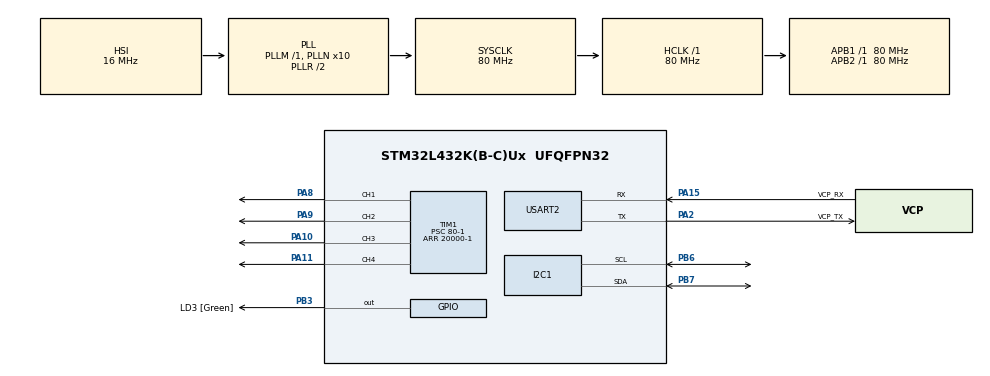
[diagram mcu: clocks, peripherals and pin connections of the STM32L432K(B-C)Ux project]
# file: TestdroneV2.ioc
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I2C1.Timing=0x10D19CE4
Mcu.Family=STM32L4
Mcu.Name=STM32L432K(B-C)Ux
Mcu.Package=UFQFPN32
NVIC.PriorityGroup=NVIC_PRIORITYGROUP_4
NVIC.TIM6_DAC_IRQn=true\:15\:0\:false\:false\:true\:false\:true\:true
NVIC.TimeBase=TIM6_DAC_IRQn
NVIC.TimeBaseIP=TIM6
PA0.GPIO_Label=MCO [High speed clock in]
PA0.Signal=RCC_CK_IN
PA10.Signal=S_TIM1_CH3
PA11.Signal=S_TIM1_CH4
PA13\ (JTMS-SWDIO).GPIO_Label=SWDIO
PA13\ (JTMS-SWDIO).Mode=Serial_Wire
PA13\ (JTMS-SWDIO).Signal=SYS_JTMS-SWDIO
PA14\ (JTCK-SWCLK).GPIO_Label=SWCLK
PA14\ (JTCK-SWCLK).Mode=Serial_Wire
PA14\ (JTCK-SWCLK).Signal=SYS_JTCK-SWCLK
PA15\ (JTDI).GPIO_Label=VCP_RX
PA15\ (JTDI).Mode=Asynchronous
PA15\ (JTDI).Signal=USART2_RX
PA2.GPIO_Label=VCP_TX
PA2.Mode=Asynchronous
PA2.Signal=USART2_TX
PA8.Signal=S_TIM1_CH1
PA9.Signal=S_TIM1_CH2
PB3\ (JTDO-TRACESWO).GPIO_Label=LD3 [Green]
PB3\ (JTDO-TRACESWO).Signal=GPIO_Output
PB6.Mode=I2C
PB6.Signal=I2C1_SCL
PB7.Mode=I2C
PB7.Signal=I2C1_SDA
PC14-OSC32_IN\ (PC14).Signal=RCC_OSC32_IN
PC15-OSC32_OUT\ (PC15).Signal=RCC_OSC32_OUT
ProjectManager.HeapSize=0x200
ProjectManager.StackSize=0x400
ProjectManager.TargetToolchain=STM32CubeIDE
RCC.ADCFreq_Value=64000000
RCC.AHBFreq_Value=80000000
RCC.APB1Freq_Value=80000000
RCC.APB1TimFreq_Value=80000000
RCC.APB2Freq_Value=80000000
RCC.APB2TimFreq_Value=80000000
RCC.CortexFreq_Value=80000000
RCC.HCLKFreq_Value=80000000
RCC.HSE_VALUE=8000000
RCC.HSI16_VALUE=16000000
RCC.HSI48_VALUE=48000000
RCC.HSI_VALUE=16000000
RCC.LSE_VALUE=32768
RCC.MSI_VALUE=4000000
RCC.PLLMUL=RCC_PLLMUL_4
RCC.PLLN=10
RCC.PLLSourceVirtual=RCC_PLLSOURCE_HSI
RCC.SYSCLKFreq_VALUE=80000000
RCC.SYSCLKSource=RCC_SYSCLKSOURCE_PLLCLK
RCC.USBFreq_Value=64000000
RCC.VCOOutputFreq_Value=160000000
SH.S_TIM1_CH1.0=TIM1_CH1,PWM Generation1 CH1
SH.S_TIM1_CH2.0=TIM1_CH2,PWM Generation2 CH2
SH.S_TIM1_CH3.0=TIM1_CH3,PWM Generation3 CH3
SH.S_TIM1_CH4.0=TIM1_CH4,PWM Generation4 CH4
TIM1.Channel-PWM\ Generation1\ CH1=TIM_CHANNEL_1
TIM1.Channel-PWM\ Generation2\ CH2=TIM_CHANNEL_2
TIM1.Channel-PWM\ Generation3\ CH3=TIM_CHANNEL_3
TIM1.Channel-PWM\ Generation4\ CH4=TIM_CHANNEL_4
TIM1.Period=20000-1
TIM1.Prescaler=80-1
USART2.VirtualMode-Asynchronous=VM_ASYNC
VP_SYS_VS_tim6.Mode=TIM6
VP_TIM1_VS_ClockSourceINT.Mode=Internal
board=NUCLEO-L432KC

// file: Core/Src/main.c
/* USER CODE BEGIN Header */
/**
  ******************************************************************************
  * @file           : main.c
  * @brief          : Main program body
  ******************************************************************************
  * @attention
  *
  * Copyright (c) 2025 STMicroelectronics.
  * All rights reserved.
  *
  * This software is licensed under terms that can be found in the LICENSE file
  * in the root directory of this software component.
  * If no LICENSE file comes with this software, it is provided AS-IS.
  *
  ******************************************************************************
  */
/* USER CODE END Header */
#include "main.h"
#include <stdio.h>

/* USER CODE BEGIN Includes */
#include "MPU6050.h"
#include "LowPassFilter.h"
#include "KalmanRollPitch.h"
#include "PIController.h"
#include "defines.h"
#include "PWMCTRL.h"
/* USER CODE END Includes */

I2C_HandleTypeDef hi2c1;

TIM_HandleTypeDef htim1;

UART_HandleTypeDef huart2;

/* USER CODE BEGIN PV */

/* Peripherals */
MPU6050_t mpu6050;

/* Filters
/* Low-pass filters */
LPFTwoPole lpf_acc_x, lpf_acc_y, lpf_acc_z;
LPFTwoPole lpf_gyr_x, lpf_gyr_y, lpf_gyr_z;

/* State estimation */
KalmanRollPitch ekf;

/* Controllers */
PIController ctrl_roll;
PIController ctrl_pitch;

/* ESC/Motor control */
ESC_CONF motors;
uint8_t motors_armed = 0;  // Safety flag
uint16_t pwm_fr, pwm_fl, pwm_rr, pwm_rl;

/* Timing variables */
uint32_t time_now = 0;
uint32_t time_prev_acc = 0;
uint32_t time_prev_gyr = 0;
uint32_t time_prev_ctrl = 0;
uint32_t time_prev_led = 0;

/* State variables */
float acc_raw[3] = {0};      // Accelerometer raw
float acc_filtered[3] = {0}; // Accelerometer filtered
float gyr_raw[3] = {0};      // Gyroscope raw
float gyr_filtered[3] = {0}; // Gyroscope filtered

float roll_est = 0.0f;       // Estimated roll (rad)
float pitch_est = 0.0f;      // Estimated pitch (rad)

float roll_setpoint = 0.0f;  // Desired roll (rad)
float pitch_setpoint = 0.0f; // Desired pitch (rad)

float ctrl_roll_output = 0.0f;
float ctrl_pitch_output = 0.0f;

/* USER CODE END PV */

void SystemClock_Config(void);
static void MX_GPIO_Init(void);
static void MX_I2C1_Init(void);
static void MX_TIM1_Init(void);
static void MX_USART2_UART_Init(void);
/* USER CODE BEGIN PFP */

void Sensors_Init(void);
void Filters_Init(void);
void Kalman_Init(void);
void Controllers_Init(void);

void Read_Sensors(void);
void Update_Kalman(void);
void Update_Controllers(void);
void Debug_Print(void);

/* USER CODE END PFP */

int main(void)
{

  /* MCU Configuration--------------------------------------------------------*/

  /* Reset of all peripherals, Initializes the Flash interface and the Systick. */
  HAL_Init();

  /* Configure the system clock */
  SystemClock_Config();

  /* Initialize all configured peripherals */
  MX_GPIO_Init();
  MX_I2C1_Init();
  MX_TIM1_Init();
  MX_USART2_UART_Init();
  /* USER CODE BEGIN 2 */
  /* Wait for sensor stabilization */
       HAL_Delay(100);

       /* Initialize modules */
       Sensors_Init();
       Filters_Init();
       Kalman_Init();
       Controllers_Init();
       // Initialize ESC/Motors
       ESC_Init(&motors);
       ESC_Calibrate(&motors);
       printf("System initialized successfully!\r\n");
       printf("Starting main loop...\r\n\r\n");

       /* Initialize timing */
       time_prev_acc = HAL_GetTick();
       time_prev_gyr = HAL_GetTick();
       time_prev_ctrl = HAL_GetTick();
       time_prev_led = HAL_GetTick();

  /* USER CODE END 2 */

  /* Infinite loop */
  /* USER CODE BEGIN WHILE */
       while (1)
             {
       	    /*__HAL_TIM_SET_COMPARE(&htim3, TIM_CHANNEL_1, 1100);

       	    HAL_Delay(4000);

       	    __HAL_TIM_SET_COMPARE(&htim3, TIM_CHANNEL_2, 1100);

       	   	HAL_Delay(4000);

       	   	__HAL_TIM_SET_COMPARE(&htim3, TIM_CHANNEL_3, 1100);

       	   	HAL_Delay(4000);

       	   	__HAL_TIM_SET_COMPARE(&htim3, TIM_CHANNEL_4, 1100);

       	   	HAL_Delay(4000);*/
                 time_now = HAL_GetTick();

                 //Read and filter accelerometer (16ms)
                 if (time_now - time_prev_acc >= SAMPLE_TIME_ACC_MS) {
                     time_prev_acc = time_now;

                     MPU6050_Read_Accel(&hi2c1, &mpu6050);

                     // Apply calibration
                     // MPU6050 retourne en 'g', on convertit en m/s²
                     acc_raw[0] = ((mpu6050.Ax - CALIB_ACC_BIAS_X) * CALIB_ACC_SCALE_X) * 9.81f;
                     acc_raw[1] = ((mpu6050.Ay - CALIB_ACC_BIAS_Y) * CALIB_ACC_SCALE_Y) * 9.81f;
                     acc_raw[2] = ((mpu6050.Az - CALIB_ACC_BIAS_Z) * CALIB_ACC_SCALE_Z) * 9.81f;

                     // Apply low-pass filter
                     acc_filtered[0] = LPFTwoPole_Update(&lpf_acc_x, acc_raw[0]);
                     acc_filtered[1] = LPFTwoPole_Update(&lpf_acc_y, acc_raw[1]);
                     acc_filtered[2] = LPFTwoPole_Update(&lpf_acc_z, acc_raw[2]);
                 }

                 // Read and filter gyroscope (10ms)
                 if (time_now - time_prev_gyr >= SAMPLE_TIME_GYR_MS) {
                     time_prev_gyr = time_now;

                     MPU6050_Read_Gyro(&hi2c1, &mpu6050);

                     // Convert to rad/s
                     gyr_raw[0] = mpu6050.Gx * DEG_TO_RAD;
                     gyr_raw[1] = mpu6050.Gy * DEG_TO_RAD;
                     gyr_raw[2] = mpu6050.Gz * DEG_TO_RAD;

                     // Apply low-pass filter
                     gyr_filtered[0] = LPFTwoPole_Update(&lpf_gyr_x, gyr_raw[0]);
                     gyr_filtered[1] = LPFTwoPole_Update(&lpf_gyr_y, gyr_raw[1]);
                     gyr_filtered[2] = LPFTwoPole_Update(&lpf_gyr_z, gyr_raw[2]);

                     // Update Kalman filter
                     Update_Kalman();
                 }

                 // Update controllers (4ms)
                 if (time_now - time_prev_ctrl >= SAMPLE_TIME_CTRL_MS) {
                     time_prev_ctrl = time_now;

                     Update_Controllers();
                     motors_armed = 1;
                     motors.state = ARMED;
                     Update_Motors();  // Apply PWM to motors
                 }

                 // Debug print (500ms)
                 if (time_now - time_prev_led >= SAMPLE_TIME_LED_MS) {
                     time_prev_led = time_now;

                     // Toggle all 4 LEDs on GPIOD (PD12, PD13, PD14, PD15)

                     HAL_GPIO_TogglePin(GPIOB, GPIO_PIN_3);
                     Debug_Print();
                 }
         }
  /* USER CODE END 3 */
}
/* Initialize sensors */
void Sensors_Init(void)
{
    if (MPU6050_Init(&hi2c1) == 0) {
        printf("MPU6050 initialized successfully!\r\n");
    } else {
        printf("ERROR: MPU6050 initialization failed!\r\n");
        Error_Handler();
    }
}

/* Initialize low-pass filters */
void Filters_Init(void)
{
    // Accelerometer filters (10 Hz cutoff, 16ms sample time)
    LPFTwoPole_Init(&lpf_acc_x, LPF_TYPE_BESSEL, LPF_ACC_CUTOFF_HZ, SAMPLE_TIME_ACC_MS / 1000.0f);
    LPFTwoPole_Init(&lpf_acc_y, LPF_TYPE_BESSEL, LPF_ACC_CUTOFF_HZ, SAMPLE_TIME_ACC_MS / 1000.0f);
    LPFTwoPole_Init(&lpf_acc_z, LPF_TYPE_BESSEL, LPF_ACC_CUTOFF_HZ, SAMPLE_TIME_ACC_MS / 1000.0f);

    // Gyroscope filters (32 Hz cutoff, 10ms sample time)
    LPFTwoPole_Init(&lpf_gyr_x, LPF_TYPE_BESSEL, LPF_GYR_CUTOFF_HZ, SAMPLE_TIME_GYR_MS / 1000.0f);
    LPFTwoPole_Init(&lpf_gyr_y, LPF_TYPE_BESSEL, LPF_GYR_CUTOFF_HZ, SAMPLE_TIME_GYR_MS / 1000.0f);
    LPFTwoPole_Init(&lpf_gyr_z, LPF_TYPE_BESSEL, LPF_GYR_CUTOFF_HZ, SAMPLE_TIME_GYR_MS / 1000.0f);

    printf("Low-pass filters initialized!\r\n");
}

/* Initialize Kalman filter */
void Kalman_Init(void)
{
    float Q[2] = {EKF_N_GYR, EKF_N_GYR};  // Process noise
    float R[3] = {EKF_N_ACC, EKF_N_ACC, EKF_N_ACC};  // Measurement noise

    KalmanRollPitch_Init(&ekf, EKF_P_INIT, Q, R);

    printf("Kalman filter initialized!\r\n");
}

/* Initialize PI controllers */
void Controllers_Init(void)
{
    // Roll controller
    PI_Init(&ctrl_roll, CTRL_ROLL_P, CTRL_ROLL_I,
            CTRL_ROLL_LIM_MIN, CTRL_ROLL_LIM_MAX);

    // Pitch controller
    PI_Init(&ctrl_pitch, CTRL_PITCH_P, CTRL_PITCH_I,
            CTRL_PITCH_LIM_MIN, CTRL_PITCH_LIM_MAX);

    printf("PI controllers initialized!\r\n");
}

/* Update Kalman filter */
void Update_Kalman(void)
{
    float dt = SAMPLE_TIME_GYR_MS / 1000.0f;  // 10ms = 0.01s  // ???????????????????????????

    // Predict step (using gyroscope)
    KalmanRollPitch_Predict(&ekf, gyr_filtered, dt);

    // Update step (using accelerometer)
    float Va = 0.0f;  // No airspeed sensor
    uint8_t success = KalmanRollPitch_Update(&ekf, acc_filtered, Va);

    if (success) {
        roll_est = ekf.phi;      // Roll in radians
        pitch_est = ekf.theta;   // Pitch in radians
    }
}

/* Update PI controllers */
void Update_Controllers(void)
{
    float dt = SAMPLE_TIME_CTRL_MS / 1000.0f;  // 4ms = 0.004s // ???????????????????????????

    // TEST: Set fixed setpoints (0 degrees = level flight)// ?????????????????????????????
    roll_setpoint = 0.0f * DEG_TO_RAD;   // 0 degrees
    pitch_setpoint = 0.0f * DEG_TO_RAD;  // 0 degrees

    // Update roll controller
    ctrl_roll_output = PI_Update(&ctrl_roll, roll_setpoint, roll_est, dt);

    // Update pitch controller
    ctrl_pitch_output = PI_Update(&ctrl_pitch, pitch_setpoint, pitch_est, dt);

    // TODO: Apply PWM outputs here when implemented
}

/* Update Motors based on controller outputs */
void Update_Motors(void)
{
    // SAFETY CHECK: Verify angles are safe
    float roll_deg = roll_est * RAD_TO_DEG;
    float pitch_deg = pitch_est * RAD_TO_DEG;

    if (!ESC_SafetyCheck(&motors, roll_deg, pitch_deg)) {
        // Unsafe angles detected - motors already stopped by SafetyCheck
        motors_armed = 0;
        return;
    }

    // If not armed, ensure motors are stopped
    if (motors_armed == 0) {
        ESC_Disarm(&motors);
        ESC_SetSpeed(&motors);
        return;
    }

    // Base throttle (for testing, start with 0)
    int16_t throttle = 50;  // TODO: Add RC input later

    // Update motor commands based on controller outputs
    // ctrl_roll_output and ctrl_pitch_output are in rad/s from PI controllers
    ESC_UpdateCommands(&motors, throttle, ctrl_roll_output, ctrl_pitch_output, 0.0f);

    // Apply PWM to motors
    ESC_SetSpeed(&motors);
}
/* Debug print to serial, including raw and filtered values */
void Debug_Print(void)
{
    printf("\r\n===== SENSOR DATA =====\r\n");

    printf("ACC RAW en g :      X=%.2f  Y=%.2f  Z=%.2f g\r\n",
    		mpu6050.Ax, mpu6050.Ay, mpu6050.Az);
    printf("ACC RAW+Calib en m/s² : X=%.2f  Y=%.2f  Z=%.2f m/s²\r\n",
    		acc_raw[0], acc_raw[1], acc_raw[2]);
    printf("ACC FILTERED: X=%.2f  Y=%.2f  Z=%.2f m/s²\r\n",
           acc_filtered[0], acc_filtered[1], acc_filtered[2]);

    printf("GYR RAW en d/s :      X=%.2f  Y=%.2f  Z=%.2f d/s\r\n",
    		mpu6050.Gx, mpu6050.Gy, mpu6050.Gz);
    printf("GYR RAW en rad/s : X=%.2f  Y=%.2f  Z=%.2f rad/s\r\n",
        		gyr_raw[0], gyr_raw[1], gyr_raw[2]);
    printf("GYR FILTERED: X=%.2f  Y=%.2f  Z=%.2f rad/s\r\n",
           gyr_filtered[0], gyr_filtered[1], gyr_filtered[2]);

    printf("\r\n===== KALMAN ESTIMATES =====\r\n");
    printf("Roll:  %.2f°  |  Pitch: %.2f°\r\n",
           roll_est * RAD_TO_DEG,
           pitch_est * RAD_TO_DEG);

    printf("\r\n===== CONTROLLER OUTPUTS =====\r\n");
    printf("Ctrl_Roll:  %.2f  |  Ctrl_Pitch: %.2f\r\n",
           ctrl_roll_output,
           ctrl_pitch_output);

    printf("\r\n===== MOTOR COMMANDS =====\r\n");
        printf("FR: %4d  FL: %4d  RR: %4d  RL: %4d  [%s]\r\n",
               motors.FR, motors.FL, motors.RR, motors.RL,
               motors_armed ? "ARMED" : "DISARMED");
        printf("\r\n===== MOTOR PWM OUTPUT =====\r\n");
        printf("PWM_FR: %4d  |  PWM_FL: %4d\r\n", pwm_fr, pwm_fl);
        printf("PWM_RR: %4d  |  PWM_RL: %4d\r\n", pwm_rr, pwm_rl);
        printf("PWM RANGE: [%d - %d]\r\n", PWM_MIN_US, PWM_MAX_US);

    printf("===============================\r\n\r\n");
}

/* Printf redirection to UART */
int _write(int file, char *ptr, int len)
{
    HAL_UART_Transmit(&huart2, (uint8_t*)ptr, len, HAL_MAX_DELAY);
    return len;
}
void SystemClock_Config(void)
{
  RCC_OscInitTypeDef RCC_OscInitStruct = {0};
  RCC_ClkInitTypeDef RCC_ClkInitStruct = {0};

  /** Configure the main internal regulator output voltage
  */
  if (HAL_PWREx_ControlVoltageScaling(PWR_REGULATOR_VOLTAGE_SCALE1) != HAL_OK)
  {
    Error_Handler();
  }

  /** Initializes the RCC Oscillators according to the specified parameters
  * in the RCC_OscInitTypeDef structure.
  */
  RCC_OscInitStruct.OscillatorType = RCC_OSCILLATORTYPE_HSI;
  RCC_OscInitStruct.HSIState = RCC_HSI_ON;
  RCC_OscInitStruct.HSICalibrationValue = RCC_HSICALIBRATION_DEFAULT;
  RCC_OscInitStruct.PLL.PLLState = RCC_PLL_ON;
  RCC_OscInitStruct.PLL.PLLSource = RCC_PLLSOURCE_HSI;
  RCC_OscInitStruct.PLL.PLLM = 1;
  RCC_OscInitStruct.PLL.PLLN = 10;
  RCC_OscInitStruct.PLL.PLLP = RCC_PLLP_DIV7;
  RCC_OscInitStruct.PLL.PLLQ = RCC_PLLQ_DIV2;
  RCC_OscInitStruct.PLL.PLLR = RCC_PLLR_DIV2;
  if (HAL_RCC_OscConfig(&RCC_OscInitStruct) != HAL_OK)
  {
    Error_Handler();
  }

  /** Initializes the CPU, AHB and APB buses clocks
  */
  RCC_ClkInitStruct.ClockType = RCC_CLOCKTYPE_HCLK|RCC_CLOCKTYPE_SYSCLK
                              |RCC_CLOCKTYPE_PCLK1|RCC_CLOCKTYPE_PCLK2;
  RCC_ClkInitStruct.SYSCLKSource = RCC_SYSCLKSOURCE_PLLCLK;
  RCC_ClkInitStruct.AHBCLKDivider = RCC_SYSCLK_DIV1;
  RCC_ClkInitStruct.APB1CLKDivider = RCC_HCLK_DIV1;
  RCC_ClkInitStruct.APB2CLKDivider = RCC_HCLK_DIV1;

  if (HAL_RCC_ClockConfig(&RCC_ClkInitStruct, FLASH_LATENCY_4) != HAL_OK)
  {
    Error_Handler();
  }
}

static void MX_I2C1_Init(void)
{

  hi2c1.Instance = I2C1;
  hi2c1.Init.Timing = 0x10D19CE4;
  hi2c1.Init.OwnAddress1 = 0;
  hi2c1.Init.AddressingMode = I2C_ADDRESSINGMODE_7BIT;
  hi2c1.Init.DualAddressMode = I2C_DUALADDRESS_DISABLE;
  hi2c1.Init.OwnAddress2 = 0;
  hi2c1.Init.OwnAddress2Masks = I2C_OA2_NOMASK;
  hi2c1.Init.GeneralCallMode = I2C_GENERALCALL_DISABLE;
  hi2c1.Init.NoStretchMode = I2C_NOSTRETCH_DISABLE;
  if (HAL_I2C_Init(&hi2c1) != HAL_OK)
  {
    Error_Handler();
  }

  /** Configure Analogue filter
  */
  if (HAL_I2CEx_ConfigAnalogFilter(&hi2c1, I2C_ANALOGFILTER_ENABLE) != HAL_OK)
  {
    Error_Handler();
  }

  /** Configure Digital filter
  */
  if (HAL_I2CEx_ConfigDigitalFilter(&hi2c1, 0) != HAL_OK)
  {
    Error_Handler();
  }

}

static void MX_TIM1_Init(void)
{

  TIM_ClockConfigTypeDef sClockSourceConfig = {0};
  TIM_MasterConfigTypeDef sMasterConfig = {0};
  TIM_OC_InitTypeDef sConfigOC = {0};
  TIM_BreakDeadTimeConfigTypeDef sBreakDeadTimeConfig = {0};

  htim1.Instance = TIM1;
  htim1.Init.Prescaler = 80-1;
  htim1.Init.CounterMode = TIM_COUNTERMODE_UP;
  htim1.Init.Period = 20000-1;
  htim1.Init.ClockDivision = TIM_CLOCKDIVISION_DIV1;
  htim1.Init.RepetitionCounter = 0;
  htim1.Init.AutoReloadPreload = TIM_AUTORELOAD_PRELOAD_DISABLE;
  if (HAL_TIM_Base_Init(&htim1) != HAL_OK)
  {
    Error_Handler();
  }
  sClockSourceConfig.ClockSource = TIM_CLOCKSOURCE_INTERNAL;
  if (HAL_TIM_ConfigClockSource(&htim1, &sClockSourceConfig) != HAL_OK)
  {
    Error_Handler();
  }
  if (HAL_TIM_PWM_Init(&htim1) != HAL_OK)
  {
    Error_Handler();
  }
  sMasterConfig.MasterOutputTrigger = TIM_TRGO_RESET;
  sMasterConfig.MasterOutputTrigger2 = TIM_TRGO2_RESET;
  sMasterConfig.MasterSlaveMode = TIM_MASTERSLAVEMODE_DISABLE;
  if (HAL_TIMEx_MasterConfigSynchronization(&htim1, &sMasterConfig) != HAL_OK)
  {
    Error_Handler();
  }
  sConfigOC.OCMode = TIM_OCMODE_PWM1;
  sConfigOC.Pulse = 0;
  sConfigOC.OCPolarity = TIM_OCPOLARITY_HIGH;
  sConfigOC.OCNPolarity = TIM_OCNPOLARITY_HIGH;
  sConfigOC.OCFastMode = TIM_OCFAST_DISABLE;
  sConfigOC.OCIdleState = TIM_OCIDLESTATE_RESET;
  sConfigOC.OCNIdleState = TIM_OCNIDLESTATE_RESET;
  if (HAL_TIM_PWM_ConfigChannel(&htim1, &sConfigOC, TIM_CHANNEL_1) != HAL_OK)
  {
    Error_Handler();
  }
  if (HAL_TIM_PWM_ConfigChannel(&htim1, &sConfigOC, TIM_CHANNEL_2) != HAL_OK)
  {
    Error_Handler();
  }
  if (HAL_TIM_PWM_ConfigChannel(&htim1, &sConfigOC, TIM_CHANNEL_3) != HAL_OK)
  {
    Error_Handler();
  }
  if (HAL_TIM_PWM_ConfigChannel(&htim1, &sConfigOC, TIM_CHANNEL_4) != HAL_OK)
  {
    Error_Handler();
  }
  sBreakDeadTimeConfig.OffStateRunMode = TIM_OSSR_DISABLE;
  sBreakDeadTimeConfig.OffStateIDLEMode = TIM_OSSI_DISABLE;
  sBreakDeadTimeConfig.LockLevel = TIM_LOCKLEVEL_OFF;
  sBreakDeadTimeConfig.DeadTime = 0;
  sBreakDeadTimeConfig.BreakState = TIM_BREAK_DISABLE;
  sBreakDeadTimeConfig.BreakPolarity = TIM_BREAKPOLARITY_HIGH;
  sBreakDeadTimeConfig.BreakFilter = 0;
  sBreakDeadTimeConfig.Break2State = TIM_BREAK2_DISABLE;
  sBreakDeadTimeConfig.Break2Polarity = TIM_BREAK2POLARITY_HIGH;
  sBreakDeadTimeConfig.Break2Filter = 0;
  sBreakDeadTimeConfig.AutomaticOutput = TIM_AUTOMATICOUTPUT_DISABLE;
  if (HAL_TIMEx_ConfigBreakDeadTime(&htim1, &sBreakDeadTimeConfig) != HAL_OK)
  {
    Error_Handler();
  }
  HAL_TIM_MspPostInit(&htim1);

}

static void MX_USART2_UART_Init(void)
{

  huart2.Instance = USART2;
  huart2.Init.BaudRate = 115200;
  huart2.Init.WordLength = UART_WORDLENGTH_8B;
  huart2.Init.StopBits = UART_STOPBITS_1;
  huart2.Init.Parity = UART_PARITY_NONE;
  huart2.Init.Mode = UART_MODE_TX_RX;
  huart2.Init.HwFlowCtl = UART_HWCONTROL_NONE;
  huart2.Init.OverSampling = UART_OVERSAMPLING_16;
  huart2.Init.OneBitSampling = UART_ONE_BIT_SAMPLE_DISABLE;
  huart2.AdvancedInit.AdvFeatureInit = UART_ADVFEATURE_NO_INIT;
  if (HAL_UART_Init(&huart2) != HAL_OK)
  {
    Error_Handler();
  }

}

static void MX_GPIO_Init(void)
{
  GPIO_InitTypeDef GPIO_InitStruct = {0};

  /* GPIO Ports Clock Enable */
  __HAL_RCC_GPIOC_CLK_ENABLE();
  __HAL_RCC_GPIOA_CLK_ENABLE();
  __HAL_RCC_GPIOB_CLK_ENABLE();

  /*Configure GPIO pin Output Level */
  HAL_GPIO_WritePin(LD3_GPIO_Port, LD3_Pin, GPIO_PIN_RESET);

  /*Configure GPIO pin : LD3_Pin */
  GPIO_InitStruct.Pin = LD3_Pin;
  GPIO_InitStruct.Mode = GPIO_MODE_OUTPUT_PP;
  GPIO_InitStruct.Pull = GPIO_NOPULL;
  GPIO_InitStruct.Speed = GPIO_SPEED_FREQ_LOW;
  HAL_GPIO_Init(LD3_GPIO_Port, &GPIO_InitStruct);

}

void HAL_TIM_PeriodElapsedCallback(TIM_HandleTypeDef *htim)
{
  if (htim->Instance == TIM6) {
    HAL_IncTick();
  }
}

void Error_Handler(void)
{
  __disable_irq();
  while (1)
  {
  }
}
